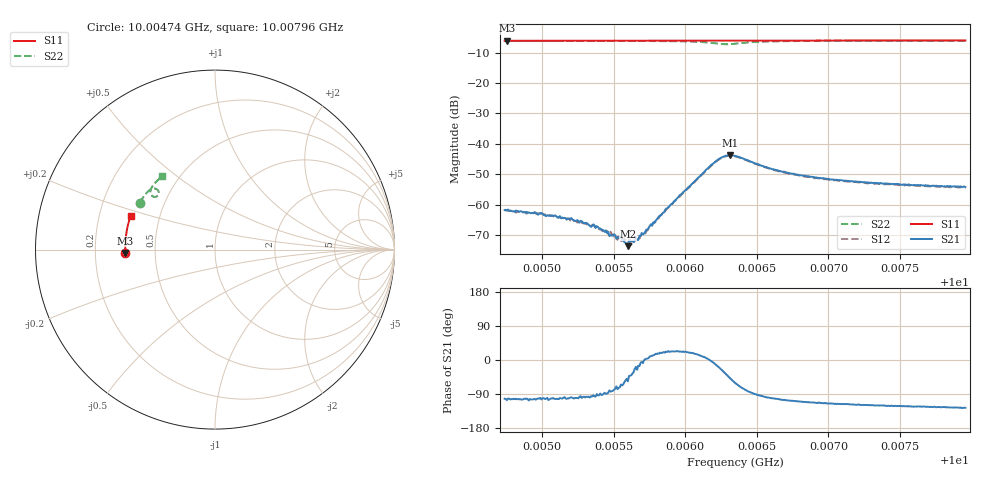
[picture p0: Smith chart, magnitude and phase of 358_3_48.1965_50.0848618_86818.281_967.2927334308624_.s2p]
#  HZ  S  RI  R  50.00
! Rohde & Schwarz Vector Network Analyzer
! Rohde-Schwarz,ZNB20-2Port,1311601062101988,3.16
! Created: UTC 3/20/2024, 11:52:05 AM
! freq[Hz]  re:S11  im:S11  re:S21  im:S21  re:S12  im:S12  re:S22  im:S22
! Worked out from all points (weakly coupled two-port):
!   401 points, 10.00474 GHz to 10.00796 GHz, reference 50 ohm
!   highest |S21| = -43.77 dB at 10.00632 GHz (marker M1); lowest = -73.7 dB at 10.0056 GHz (marker M2)
!   lowest |S11| = -6.0 dB at 10.00476 GHz (marker M3), VSWR 2.99, Z = 16.7 - j0.807 ohm
!   |S11| at or under -10 dB: nowhere
!   |S22| runs from -7.2 to -6.0 dB; largest |S21 - S12| = 0.00035
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1.0004739e10  -0.4988 -0.019  -0.000171 -0.000793  -0.000131 -0.000793  -0.4182 0.2622
1.0004755e10  -0.4987 -0.0181  -0.000218 -0.000763  -0.000158 -0.000788  -0.4176 0.2632
1.0005004e10  -0.4996 -0.00175  -0.00013 -0.000676  -0.000141 -0.000698  -0.4089 0.2779
1.0005278e10  -0.4998 0.0159  -9.19e-05 -0.000523  -5.1e-05 -0.0005  -0.3983 0.2942
1.0005334e10  -0.5 0.0195  -7.09e-05 -0.000441  -2.35e-05 -0.000468  -0.396 0.2976
1.0005374e10  -0.5 0.0222  -4.57e-05 -0.000408  -9.93e-06 -0.000418  -0.3942 0.2999
1.0005471e10  -0.4998 0.0284  5.2e-05 -0.000298  6.49e-05 -0.000302  -0.3898 0.3058
1.0005543e10  -0.4996 0.0331  8.51e-05 -0.000263  0.000112 -0.000259  -0.3864 0.3102
1.0005583e10  -0.4996 0.0358  0.000137 -0.000189  0.000172 -0.000189  -0.3843 0.3126
1.0005599e10  -0.4995 0.0368  0.000114 -0.000171  0.000153 -0.000168  -0.3834 0.3137
1.0005632e10  -0.4993 0.0387  0.000205 -0.000147  0.000217 -0.000134  -0.3818 0.3156
1.0005656e10  -0.4993 0.0404  0.000268 -8.63e-05  0.000246 -9.44e-05  -0.3805 0.3171
1.000572e10  -0.4991 0.0446  0.000353 1.36e-05  0.00033 5.29e-06  -0.3766 0.3211
1.0005817e10  -0.4987 0.0509  0.000611 0.000182  0.000569 0.000215  -0.3702 0.3274
1.0006187e10  -0.4961 0.0746  0.00458 -0.000332  0.00447 -0.000143  -0.3188 0.3319
1.0006251e10  -0.4953 0.0786  0.00538 -0.00249  0.00537 -0.00217  -0.3133 0.3127
1.0006315e10  -0.4949 0.0824  0.00424 -0.0049  0.00439 -0.0046  -0.3267 0.2954
1.0006347e10  -0.4946 0.0844  0.00314 -0.00551  0.00336 -0.00525  -0.3369 0.2937
1.0006613e10  -0.4926 0.1013  -0.00073 -0.00375  -0.000568 -0.00371  -0.3589 0.3317
1.0006886e10  -0.4893 0.1188  -0.00106 -0.00266  -0.000931 -0.00259  -0.3467 0.3554
1.0007425e10  -0.481 0.1525  -0.00113 -0.00188  -0.00102 -0.00189  -0.3202 0.3858
1.0007956e10  -0.4705 0.185  -0.00114 -0.00157  -0.00105 -0.0016  -0.293 0.4098
